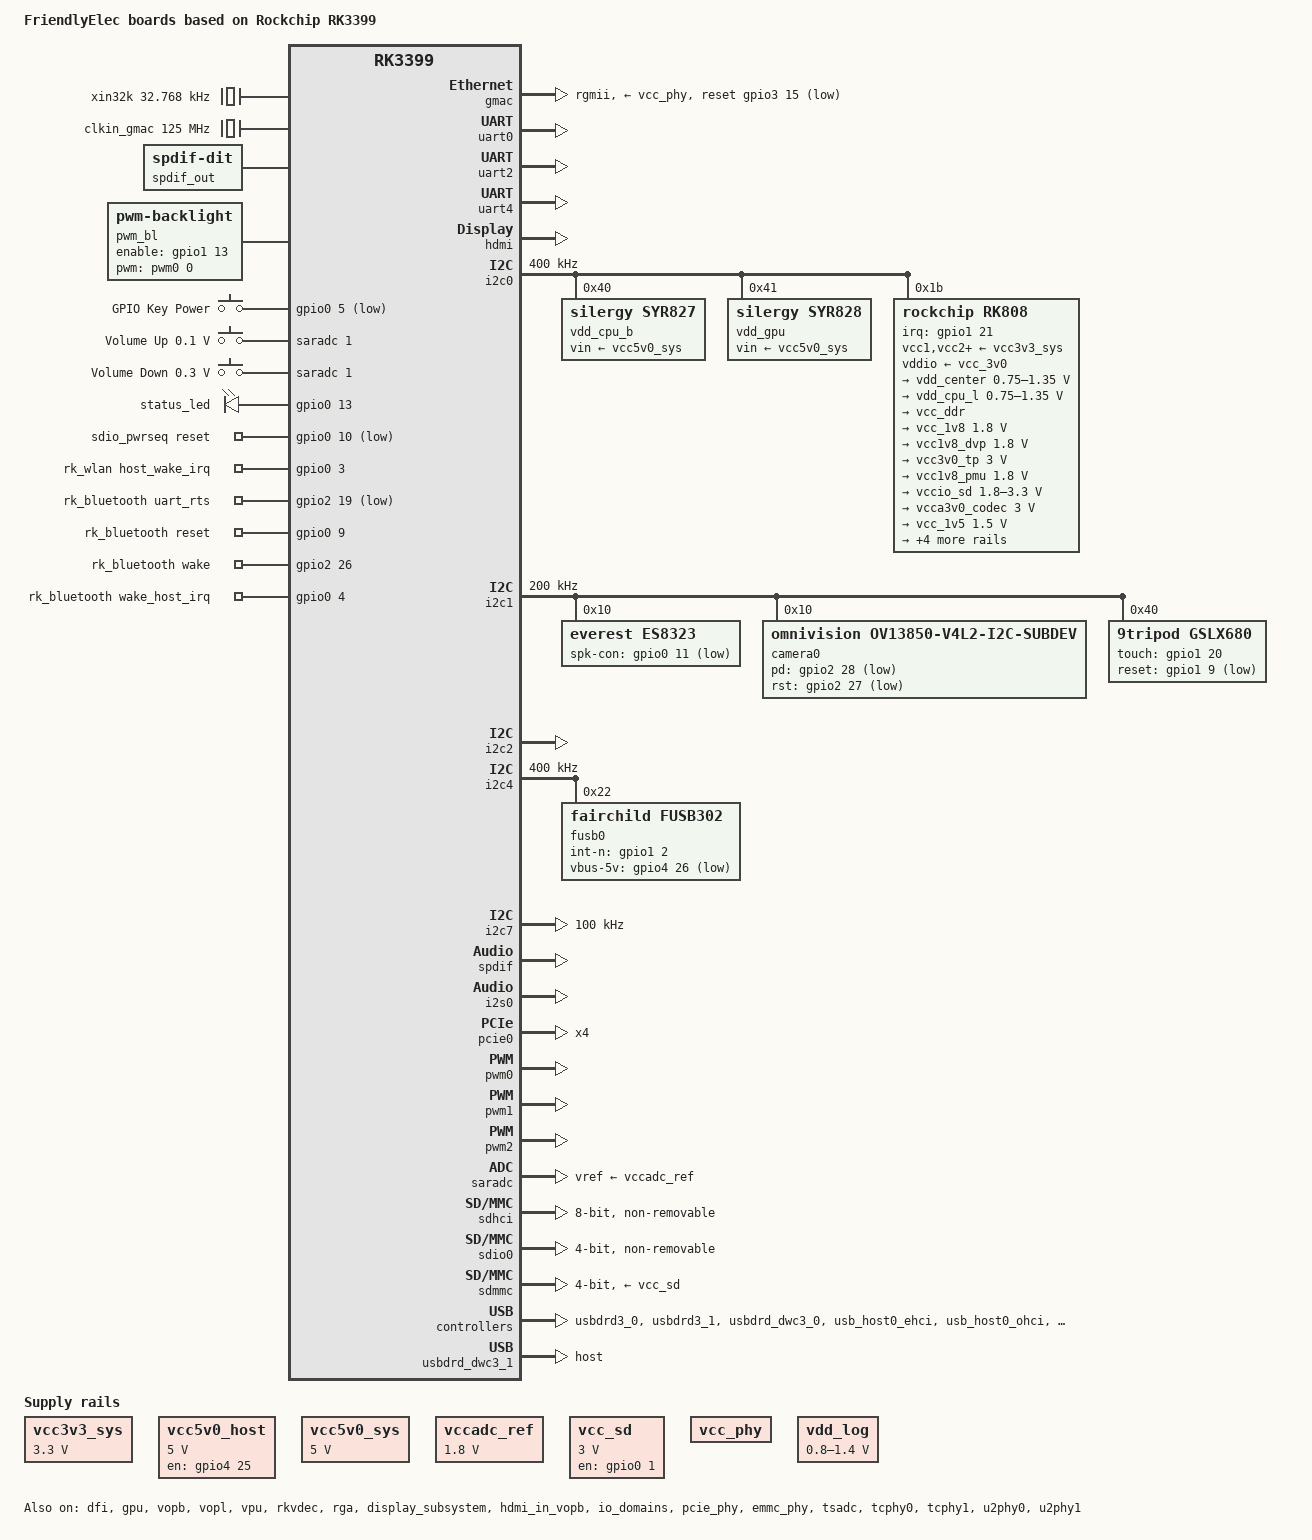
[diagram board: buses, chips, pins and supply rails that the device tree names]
/*
 * Copyright (c) 2018 FriendlyElec Computer Tech. Co., Ltd.
 * (http://www.friendlyarm.com)
 *
 * Copyright (c) 2016 Fuzhou Rockchip Electronics Co., Ltd
 *
 * This file is dual-licensed: you can use it either under the terms
 * of the GPL or the X11 license, at your option. Note that this dual
 * licensing only applies to this file, and not this project as a
 * whole.
 *
 *  a) This file is free software; you can redistribute it and/or
 *     modify it under the terms of the GNU General Public License as
 *     published by the Free Software Foundation; either version 2 of the
 *     License, or (at your option) any later version.
 *
 *     This file is distributed in the hope that it will be useful,
 *     but WITHOUT ANY WARRANTY; without even the implied warranty of
 *     MERCHANTABILITY or FITNESS FOR A PARTICULAR PURPOSE.  See the
 *     GNU General Public License for more details.
 *
 * Or, alternatively,
 *
 *  b) Permission is hereby granted, free of charge, to any person
 *     obtaining a copy of this software and associated documentation
 *     files (the "Software"), to deal in the Software without
 *     restriction, including without limitation the rights to use,
 *     copy, modify, merge, publish, distribute, sublicense, and/or
 *     sell copies of the Software, and to permit persons to whom the
 *     Software is furnished to do so, subject to the following
 *     conditions:
 *
 *     The above copyright notice and this permission notice shall be
 *     included in all copies or substantial portions of the Software.
 *
 *     THE SOFTWARE IS PROVIDED "AS IS", WITHOUT WARRANTY OF ANY KIND,
 *     EXPRESS OR IMPLIED, INCLUDING BUT NOT LIMITED TO THE WARRANTIES
 *     OF MERCHANTABILITY, FITNESS FOR A PARTICULAR PURPOSE AND
 *     NONINFRINGEMENT. IN NO EVENT SHALL THE AUTHORS OR COPYRIGHT
 *     HOLDERS BE LIABLE FOR ANY CLAIM, DAMAGES OR OTHER LIABILITY,
 *     WHETHER IN AN ACTION OF CONTRACT, TORT OR OTHERWISE, ARISING
 *     FROM, OUT OF OR IN CONNECTION WITH THE SOFTWARE OR THE USE OR
 *     OTHER DEALINGS IN THE SOFTWARE.
 */

#include "dt-bindings/pwm/pwm.h"
#include <dt-bindings/display/rk_fb.h>
#include <dt-bindings/display/mipi_dsi.h>
#include "rk3399.dtsi"
#include "rk3399-opp.dtsi"
#include "rk3399-linux.dtsi"
#include <dt-bindings/input/input.h>

/ {
	model = "FriendlyElec boards based on Rockchip RK3399";
	compatible = "friendlyelec,nanopi4",
		   "rockchip,rk3399";

	cpuinfo {
		compatible = "rockchip,cpuinfo";
		nvmem-cells = <&efuse_id>;
		nvmem-cell-names = "id";
	};

	mach: board {
		compatible = "friendlyelec,board";
		machine = "NANOPI4";
		hwrev = <255>;
		model = "NanoPi 4 Series";
	};

	fiq_debugger: fiq-debugger {
		compatible = "rockchip,fiq-debugger";
		rockchip,serial-id = <2>;
		rockchip,signal-irq = <182>;
		rockchip,wake-irq = <0>;
		rockchip,irq-mode-enable = <1>;  /* If enable uart uses irq instead of fiq */
		rockchip,baudrate = <1500000>;  /* Only 115200 and 1500000 */
		pinctrl-names = "default";
		pinctrl-0 = <&uart2c_xfer>;
	};

	xin32k: xin32k {
		compatible = "fixed-clock";
		clock-frequency = <32768>;
		clock-output-names = "xin32k";
		#clock-cells = <0>;
	};

	clkin_gmac: external-gmac-clock {
		compatible = "fixed-clock";
		clock-frequency = <125000000>;
		clock-output-names = "clkin_gmac";
		#clock-cells = <0>;
	};

	vcc3v3_sys: vcc3v3-sys {
		compatible = "regulator-fixed";
		regulator-name = "vcc3v3_sys";
		regulator-always-on;
		regulator-boot-on;
		regulator-min-microvolt = <3300000>;
		regulator-max-microvolt = <3300000>;
	};

	vcc5v0_host: vcc5v0-host-regulator {
		compatible = "regulator-fixed";
		enable-active-high;
		gpio = <&gpio4 25 GPIO_ACTIVE_HIGH>;
		pinctrl-names = "default";
		pinctrl-0 = <&host_vbus_drv>;
		regulator-name = "vcc5v0_host";
		regulator-always-on;
		//regulator-boot-on;
		regulator-min-microvolt = <5000000>;
		regulator-max-microvolt = <5000000>;
	};

	vcc5v0_sys: vcc5v0-sys {
		compatible = "regulator-fixed";
		regulator-name = "vcc5v0_sys";
		regulator-always-on;
		regulator-boot-on;
		regulator-min-microvolt = <5000000>;
		regulator-max-microvolt = <5000000>;
	};

	vccadc_ref: vccadc-ref {
		compatible = "regulator-fixed";
		regulator-name = "vcc1v8_sys";
		regulator-always-on;
		regulator-boot-on;
		regulator-min-microvolt = <1800000>;
		regulator-max-microvolt = <1800000>;
	};

	vcc_sd: vcc-sd {
		compatible = "regulator-fixed";
		enable-active-high;
		gpio = <&gpio0 1 GPIO_ACTIVE_HIGH>;
		pinctrl-names = "default";
		pinctrl-0 = <&vcc_sd_h>;
		regulator-name = "vcc_sd";
		regulator-min-microvolt = <3000000>;
		regulator-max-microvolt = <3000000>;
	};

	vcc_phy: vcc-phy-regulator {
		compatible = "regulator-fixed";
		regulator-name = "vcc_phy";
		regulator-always-on;
		regulator-boot-on;
	};

	/*vcc_lcd: vcc-lcd {
		compatible = "regulator-fixed";
		regulator-name = "vcc_lcd";
		gpio = <&gpio1 13 GPIO_ACTIVE_HIGH>;
		startup-delay-us = <20000>;
		enable-active-high;
		regulator-min-microvolt = <3300000>;
		regulator-max-microvolt = <3300000>;
		regulator-boot-on;
		vin-supply = <&vcc5v0_sys>;
	};*/

	vdd_log: vdd-log {
		compatible = "pwm-regulator";
		pwms = <&pwm2 0 25000 1>;
		regulator-name = "vdd_log";
		regulator-min-microvolt = <800000>;
		regulator-max-microvolt = <1400000>;
		regulator-always-on;
		regulator-boot-on;

		/* for rockchip boot on */
		rockchip,pwm_id = <2>;
		rockchip,pwm_voltage = <1000000>;
	};

/*
	rt5651_card: rt5651-sound {
		status = "okay";
		compatible = "simple-audio-card";
		pinctrl-names = "default";
		pinctrl-0 = <&hp_det>;

		simple-audio-card,name = "realtek,rt5651-codec";
		simple-audio-card,format = "i2s";
		simple-audio-card,mclk-fs = <256>;
		simple-audio-card,hp-det-gpio = <&gpio4 28 GPIO_ACTIVE_HIGH>;

		simple-audio-card,widgets =
			//"Microphone", "Mic Jack",
			"Headphone", "Headphone Jack";
		simple-audio-card,routing =
			//"Mic Jack", "MICBIAS1",
			//"IN1P", "Mic Jack",
			"Headphone Jack", "HPOL",
			"Headphone Jack", "HPOR";

		simple-audio-card,cpu {
			sound-dai = <&i2s0>;
		};
		simple-audio-card,codec {
			sound-dai = <&rt5651>;
		};
	};
*/

	es8323-sound {
	   status = "okay";
		compatible = "simple-audio-card";
		simple-audio-card,format = "i2s";
		simple-audio-card,name = "rockchip,es8323-codec";
		simple-audio-card,mclk-fs = <256>;
		simple-audio-card,widgets =
			"Microphone", "Mic Jack",
			"Headphone", "Headphone Jack";
		simple-audio-card,routing =
			"Mic Jack", "MICBIAS1",
			"IN1P", "Mic Jack",
			"Headphone Jack", "HPOL",
			"Headphone Jack", "HPOR";
		simple-audio-card,cpu {
			sound-dai = <&i2s0>;
			system-clock-frequency = <11289600>;
		};
		simple-audio-card,codec {
			sound-dai = <&es8323>;
			system-clock-frequency = <11289600>;
		};
 	};

	dw_hdmi_audio: dw-hdmi-audio {
		status = "disabled";
		compatible = "rockchip,dw-hdmi-audio";
		#sound-dai-cells = <0>;
	};

	hdmi_sound: hdmi-sound {
		status = "okay";
		compatible = "simple-audio-card";
		simple-audio-card,format = "i2s";
		simple-audio-card,mclk-fs = <256>;
		simple-audio-card,name = "rockchip,hdmi";

		simple-audio-card,cpu {
			sound-dai = <&i2s2>;
		};
		simple-audio-card,codec {
			sound-dai = <&hdmi>;
		};
	};

	spdif-sound {
		status = "okay";
		compatible = "simple-audio-card";
		simple-audio-card,name = "ROCKCHIP,SPDIF";
		simple-audio-card,cpu {
			sound-dai = <&spdif>;
		};
		simple-audio-card,codec {
			sound-dai = <&spdif_out>;
		};
	};

	spdif_out: spdif-out {
		status = "okay";
		compatible = "linux,spdif-dit";
		#sound-dai-cells = <0>;
	};

	pwm_bl: backlight {
		status = "ok";
		compatible = "pwm-backlight";
		pwms = <&pwm0 0 25000 0>;
		brightness-levels = <
			255 254 253 252 251 250 249 248
			247 246 245 244 243 242 241 240
			239 238 237 236 235 234 233 232
			231 230 229 228 227 226 225 224
			223 222 221 220 219 218 217 216
			215 214 213 212 211 210 209 208
			207 206 205 204 203 202 201 200
			199 198 197 196 195 194 193 192
			191 190 189 188 187 186 185 184
			183 182 181 180 179 178 177 176
			175 174 173 172 171 170 169 168
			167 166 165 164 163 162 161 160
			159 158 157 156 155 154 153 152
			151 150 149 148 147 146 145 144
			143 142 141 140 139 138 137 136
			135 134 133 132 131 130 129 128
			127 126 125 124 123 122 121 120
			119 118 117 116 115 114 113 112
			111 110 109 108 107 106 105 104
			103 102 101 100 99 98 97 96
			95 94 93 92 91 90 89 88
			87 86 85 84 83 82 81 80
			79 78 77 76 75 74 73 72
			71 70 69 68 67 66 65 64
			63 62 61 60 59 58 57 56
			55 54 53 52 51 50 49 48
			47 46 45 44 43 42 41 40
			39 38 37 36 35 34 33 32
			31 30 29 28 27 26 25 24
			23 22 21 20 19 18 17 16
			15 14 13 12 11 10 9 8
			7 6 5 4 3 2 1 0>;
		default-brightness-level = <200>;
	};

/*
	panel: edp-panel {
		compatible = "lcds", "simple-panel";
		status = "okay";

		backlight = <&pwm_bl>;
		power-supply = <&vcc_lcd>;
		prepare-delay-ms = <20>;
		enable-delay-ms = <20>;

		ports {
			edp_panel: endpoint {
				remote-endpoint = <&edp_out>;
			};
		};
	};
*/

	gpio-keys {
		compatible = "gpio-keys";
		#address-cells = <1>;
		#size-cells = <0>;
		autorepeat;

		pinctrl-names = "default";
		pinctrl-0 = <&power_key>;

		button@0 {
			gpios = <&gpio0 5 GPIO_ACTIVE_LOW>;
			linux,code = <KEY_POWER>;
			label = "GPIO Key Power";
			linux,input-type = <1>;
			gpio-key,wakeup = <1>;
			debounce-interval = <100>;
		};
	};

	adc-keys {
		compatible = "adc-keys";
		io-channels = <&saradc 1>;
		io-channel-names = "buttons";
		poll-interval = <100>;
		keyup-threshold-microvolt = <1800000>;

		button-up {
			label = "Volume Up";
			linux,code = <KEY_VOLUMEUP>;
			press-threshold-microvolt = <100000>;
		};

		button-down {
			label = "Volume Down";
			linux,code = <KEY_VOLUMEDOWN>;
			press-threshold-microvolt = <300000>;
		};
	};

	leds: gpio-leds {
		compatible = "gpio-leds";
		pinctrl-names = "default";
		pinctrl-0 =<&leds_gpio>;

		led@1 {
			gpios = <&gpio0 13 GPIO_ACTIVE_HIGH>;
			label = "status_led";
			linux,default-trigger = "heartbeat";
			linux,default-trigger-delay-ms = <0>;
		};
	};

	sdio_pwrseq: sdio-pwrseq {
		compatible = "mmc-pwrseq-simple";
		clocks = <&rk808 1>;
		clock-names = "ext_clock";
		pinctrl-names = "default";
		pinctrl-0 = <&wifi_enable_h>;

		/*
		 * On the module itself this is one of these (depending
		 * on the actual card populated):
		 * - SDIO_RESET_L_WL_REG_ON
		 * - PDN (power down when low)
		 */
		reset-gpios = <&gpio0 10 GPIO_ACTIVE_LOW>; /* GPIO0_B2 */
	};

	rk_wlan: wireless-wlan {
		compatible = "wlan-platdata";
		rockchip,grf = <&grf>;
		wifi_chip_type = "ap6354";
		sdio_vref = <1800>;
		WIFI,host_wake_irq = <&gpio0 3 GPIO_ACTIVE_HIGH>; /* GPIO0_a3 */
		status = "okay";
	};

	rk_bluetooth: wireless-bluetooth {
		compatible = "bluetooth-platdata";
		clocks = <&rk808 1>;
		clock-names = "ext_clock";
		//wifi-bt-power-toggle;
		uart_rts_gpios = <&gpio2 19 GPIO_ACTIVE_LOW>; /* GPIO2_C3 */
		pinctrl-names = "default", "rts_gpio";
		pinctrl-0 = <&uart0_rts>;
		pinctrl-1 = <&uart0_gpios>;
		//BT,power_gpio  = <&gpio3 19 GPIO_ACTIVE_HIGH>; /* GPIOx_xx */
		BT,reset_gpio    = <&gpio0 9 GPIO_ACTIVE_HIGH>; /* GPIO0_B1 */
		BT,wake_gpio     = <&gpio2 26 GPIO_ACTIVE_HIGH>; /* GPIO2_D2 */
		BT,wake_host_irq = <&gpio0 4 GPIO_ACTIVE_HIGH>; /* GPIO0_A4 */
		status = "okay";
	};
};

&cpu_l0 {
	cpu-supply = <&vdd_cpu_l>;
};

&cpu_l1 {
	cpu-supply = <&vdd_cpu_l>;
};

&cpu_l2 {
	cpu-supply = <&vdd_cpu_l>;
};

&cpu_l3 {
	cpu-supply = <&vdd_cpu_l>;
};

&cpu_b0 {
	cpu-supply = <&vdd_cpu_b>;
};

&cpu_b1 {
	cpu-supply = <&vdd_cpu_b>;
};

&dfi {
	status = "okay";
};

&dmc {
	status = "disabled";
};

&gpu {
	status = "okay";
	mali-supply = <&vdd_gpu>;
};

&gmac {
	phy-supply = <&vcc_phy>;
	phy-mode = "rgmii";
	clock_in_out = "input";
	snps,reset-gpio = <&gpio3 15 GPIO_ACTIVE_LOW>;
	snps,reset-active-low;
	snps,reset-delays-us = <0 10000 50000>;
	assigned-clocks = <&cru SCLK_RMII_SRC>;
	assigned-clock-parents = <&clkin_gmac>;
	pinctrl-names = "default";
	pinctrl-0 = <&rgmii_pins>;
	tx_delay = <0x46>;
	rx_delay = <0x21>;
	status = "okay";
};

&uart0 {
	pinctrl-names = "default";
	pinctrl-0 = <&uart0_xfer &uart0_cts>;
	status = "okay";
};

&uart2 {
	status = "okay";
};

&uart4 {
	status = "okay";
};

&vopb {
	status = "okay";
	assigned-clocks = <&cru DCLK_VOP0_DIV>;
	assigned-clock-parents = <&cru PLL_VPLL>;
	//assigned-clock-parents = <&cru PLL_CPLL>;
};

&vopb_mmu {
	status = "okay";
};

&vopl {
	status = "okay";
	assigned-clocks = <&cru DCLK_VOP1_DIV>;
	assigned-clock-parents = <&cru PLL_CPLL>;
	//assigned-clock-parents = <&cru PLL_VPLL>;
};

&vopl_mmu {
	status = "okay";
};

&vpu {
	status = "okay";
	/* 0 means ion, 1 means drm */
	//allocator = <0>;
};

&rkvdec {
	status = "okay";
	/* 0 means ion, 1 means drm */
	//allocator = <0>;
};

&rga {
	status = "okay";
};

&display_subsystem {
	status = "okay";
};

/*
&edp {
	status = "okay";
	force-hpd;
	/delete-property/ pinctrl-0;

	ports {
		port@1 {
			reg = <1>;

			edp_out: endpoint {
				remote-endpoint = <&edp_panel>;
			};
		};
	};
};


&edp_in_vopb {
	status = "disabled";
};

&route_edp {
	status = "okay";
	logo,mode = "center";
	connect = <&vopl_out_edp>;
};
*/
&cdn_dp {
	status = "disabled";
	extcon = <&fusb0>;
	phys = <&tcphy0_dp>;
};

&dp_in_vopl {
	status = "disabled";
};

&hdmi_in_vopl {
	//status = "ok";
	status = "disabled";
};

&hdmi_in_vopb {
	status = "ok";
	//status = "disabled";
};

&hdmi {
	/* remove the hdmi_i2c_xfer */
	pinctrl-0 = <&hdmi_cec>;
	#address-cells = <1>;
	#size-cells = <0>;
	#sound-dai-cells = <0>;
	status = "okay";
	ddc-i2c-bus = <&i2c7>;
	rockchip,defaultmode = <16>; /* CEA 1920x1080@60Hz */
};

&route_hdmi {
	status = "disabled";
	logo,mode = "center";
	connect = <&vopb_out_hdmi>;
};
/*
&cif_isp0 {
	rockchip,camera-modules-attached = <&camera0>;
	status = "okay";
};
*/


&isp0_mmu {
	status = "okay";
};

&cif_isp1 {
	status = "disabled";
};


&isp1_mmu {
	status = "okay";
};

&i2c0 {
	status = "okay";
	i2c-scl-rising-time-ns = <160>;
	i2c-scl-falling-time-ns = <30>;
	clock-frequency = <400000>;

	vdd_cpu_b: syr827@40 {
		compatible = "silergy,syr827";
		reg = <0x40>;
		vin-supply = <&vcc5v0_sys>;
		regulator-compatible = "fan53555-reg";
		regulator-name = "vdd_cpu_b";
		regulator-min-microvolt = <712500>;
		regulator-max-microvolt = <1500000>;
		regulator-ramp-delay = <1000>;
		fcs,suspend-voltage-selector = <1>;
		regulator-always-on;
		regulator-boot-on;
		regulator-initial-state = <3>;
			regulator-state-mem {
			regulator-off-in-suspend;
		};
	};

	vdd_gpu: syr828@41 {
		compatible = "silergy,syr828";
		reg = <0x41>;
		vin-supply = <&vcc5v0_sys>;
		regulator-compatible = "fan53555-reg";
		regulator-name = "vdd_gpu";
		regulator-min-microvolt = <712500>;
		regulator-max-microvolt = <1500000>;
		regulator-ramp-delay = <1000>;
		fcs,suspend-voltage-selector = <1>;
		regulator-always-on;
		regulator-boot-on;
		regulator-initial-state = <3>;
			regulator-state-mem {
			regulator-off-in-suspend;
		};
	};

	rk808: pmic@1b {
		compatible = "rockchip,rk808";
		reg = <0x1b>;
		interrupt-parent = <&gpio1>;
		interrupts = <21 IRQ_TYPE_LEVEL_LOW>;
		pinctrl-names = "default";
		pinctrl-0 = <&pmic_int_l>;
		rockchip,system-power-controller;
		wakeup-source;
		#clock-cells = <1>;
		clock-output-names = "rk808-clkout1", "rk808-clkout2";

		vcc1-supply = <&vcc3v3_sys>;
		vcc2-supply = <&vcc3v3_sys>;
		vcc3-supply = <&vcc3v3_sys>;
		vcc4-supply = <&vcc3v3_sys>;
		vcc6-supply = <&vcc3v3_sys>;
		vcc7-supply = <&vcc3v3_sys>;
		vcc8-supply = <&vcc3v3_sys>;
		vcc9-supply = <&vcc3v3_sys>;
		vcc10-supply = <&vcc3v3_sys>;
		vcc11-supply = <&vcc3v3_sys>;
		vcc12-supply = <&vcc3v3_sys>;
		//vddio-supply = <&vcc1v8_pmu>;
		vddio-supply = <&vcc_3v0>;

		regulators {
			vdd_center: DCDC_REG1 {
				regulator-always-on;
				regulator-boot-on;
				regulator-min-microvolt = <750000>;
				regulator-max-microvolt = <1350000>;
				regulator-ramp-delay = <6001>;
				regulator-name = "vdd_center";
				regulator-state-mem {
					regulator-off-in-suspend;
				};
			};

			vdd_cpu_l: DCDC_REG2 {
				regulator-always-on;
				regulator-boot-on;
				regulator-min-microvolt = <750000>;
				regulator-max-microvolt = <1350000>;
				regulator-ramp-delay = <6001>;
				regulator-name = "vdd_cpu_l";
				regulator-state-mem {
					regulator-off-in-suspend;
				};
			};

			vcc_ddr: DCDC_REG3 {
				regulator-always-on;
				regulator-boot-on;
				regulator-name = "vcc_ddr";
				regulator-state-mem {
					regulator-on-in-suspend;
				};
			};

			vcc_1v8: DCDC_REG4 {
				regulator-always-on;
				regulator-boot-on;
				regulator-min-microvolt = <1800000>;
				regulator-max-microvolt = <1800000>;
				regulator-name = "vcc_1v8";
				regulator-state-mem {
					regulator-on-in-suspend;
					regulator-suspend-microvolt = <1800000>;
				};
			};

			vcc1v8_dvp: LDO_REG1 {
				regulator-always-on;
				regulator-boot-on;
				regulator-min-microvolt = <1800000>;
				regulator-max-microvolt = <1800000>;
				regulator-name = "vcc1v8_dvp";
				regulator-state-mem {
					regulator-off-in-suspend;
				};
			};

			vcc3v0_tp: LDO_REG2 {
				regulator-always-on;
				regulator-boot-on;
				regulator-min-microvolt = <3000000>;
				regulator-max-microvolt = <3000000>;
				regulator-name = "vcc3v0_tp";
				regulator-state-mem {
					regulator-off-in-suspend;
				};
			};

			vcc1v8_pmu: LDO_REG3 {
				regulator-always-on;
				regulator-boot-on;
				regulator-min-microvolt = <1800000>;
				regulator-max-microvolt = <1800000>;
				regulator-name = "vcc1v8_pmu";
				regulator-state-mem {
					regulator-on-in-suspend;
					regulator-suspend-microvolt = <1800000>;
				};
			};

			vccio_sd: LDO_REG4 {
				regulator-always-on;
				regulator-boot-on;
				regulator-min-microvolt = <1800000>;
				regulator-max-microvolt = <3300000>;
				regulator-init-microvolt = <3000000>;
				regulator-name = "vccio_sd";
				regulator-state-mem {
					regulator-on-in-suspend;
					regulator-suspend-microvolt = <3000000>;
				};
			};

			vcca3v0_codec: LDO_REG5 {
				regulator-always-on;
				regulator-boot-on;
				regulator-min-microvolt = <3000000>;
				regulator-max-microvolt = <3000000>;
				regulator-name = "vcca3v0_codec";
				regulator-state-mem {
					regulator-off-in-suspend;
				};
			};

			vcc_1v5: LDO_REG6 {
				regulator-always-on;
				regulator-boot-on;
				regulator-min-microvolt = <1500000>;
				regulator-max-microvolt = <1500000>;
				regulator-name = "vcc_1v5";
				regulator-state-mem {
					regulator-on-in-suspend;
					regulator-suspend-microvolt = <1500000>;
				};
			};

			vcca1v8_codec: LDO_REG7 {
				regulator-always-on;
				regulator-boot-on;
				regulator-min-microvolt = <1800000>;
				regulator-max-microvolt = <1800000>;
				regulator-name = "vcca1v8_codec";
				regulator-state-mem {
					regulator-off-in-suspend;
				};
			};

			vcc_3v0: LDO_REG8 {
				regulator-always-on;
				regulator-boot-on;
				regulator-min-microvolt = <3000000>;
				regulator-max-microvolt = <3000000>;
				regulator-name = "vcc_3v0";
				regulator-state-mem {
					regulator-on-in-suspend;
					regulator-suspend-microvolt = <3000000>;
				};
			};

			vcc3v3_s3: SWITCH_REG1 {
				regulator-always-on;
				regulator-boot-on;
				regulator-name = "vcc3v3_s3";
				regulator-state-mem {
					regulator-off-in-suspend;
				};
			};

			vcc3v3_s0: SWITCH_REG2 {
				regulator-always-on;
				regulator-boot-on;
				regulator-name = "vcc3v3_s0";
				regulator-state-mem {
					regulator-off-in-suspend;
				};
			};
		};
	};
};

&i2c1 {
	status = "okay";
	i2c-scl-rising-time-ns = <150>;
	i2c-scl-falling-time-ns = <30>;
	clock-frequency = <200000>;

/*
	rt5651: rt5651@1a {
		#sound-dai-cells = <0>;
		compatible = "rockchip,rt5651";
		reg = <0x1a>;
		clocks = <&cru SCLK_I2S_8CH_OUT>;
		clock-names = "mclk";
		pinctrl-names = "default";
		pinctrl-0 = <&i2s_8ch_mclk>;
		status = "okay";
	};
	*/
	es8323: es8323@10 {
		status = "okay";
		#sound-dai-cells = <0>;
		compatible = "everest,es8323";
		reg = <0x10>;
		clocks = <&cru SCLK_I2S_8CH_OUT>;
		clock-names = "mclk";
		pinctrl-names = "default";
		pinctrl-0 = <&i2s_8ch_mclk>;
		spk-con-gpio = <&gpio0 11 GPIO_ACTIVE_LOW>;
	};

	camera0: ov13850@10 {
		status = "okay";
		compatible = "omnivision,ov13850-v4l2-i2c-subdev";
		reg = <0x10>;
		device_type = "v4l2-i2c-subdev";

		clocks = <&cru SCLK_CIF_OUT>;
		clock-names = "clk_cif_out";
		pinctrl-names = "rockchip,camera_default", "rockchip,camera_sleep";
		pinctrl-0 = <&cam0_default_pins>;
		pinctrl-1 = <&cam0_sleep_pins>;

		rockchip,pd-gpio = <&gpio2 28 GPIO_ACTIVE_LOW>;
		rockchip,rst-gpio = <&gpio2 27 GPIO_ACTIVE_LOW>;

		rockchip,camera-module-mclk-name = "clk_cif_out";
		rockchip,camera-module-facing = "back";
		rockchip,camera-module-name = "CAM1320-P13V03D";
		rockchip,camera-module-len-name = "50013A1";
		rockchip,camera-module-fov-h = "66.0";
		rockchip,camera-module-fov-v = "50.1";
		rockchip,camera-module-orientation = <0>;
		rockchip,camera-module-iq-flip = <0>;
		rockchip,camera-module-iq-mirror = <0>;
		rockchip,camera-module-flip = <1>;
		rockchip,camera-module-mirror = <0>;

		rockchip,camera-module-defrect0 = <2112 1568 0 0 2112 1568>;
		rockchip,camera-module-defrect1 = <4224 3136 0 0 4224 3136>;
		rockchip,camera-module-defrect3 = <3264 2448 0 0 3264 2448>;
		rockchip,camera-module-flash-support = <0>;
		rockchip,camera-module-mipi-dphy-index = <0>;
	};

     	gslx680@40 {
        	compatible = "9tripod,gslx680";
        	reg = <0x40>;
        	touch-gpio = <&gpio1 20 IRQ_TYPE_EDGE_RISING>;
        	reset-gpio = <&gpio1 9 GPIO_ACTIVE_LOW>;
        	//max-x = <1024>;
        	//max-y = <600>;
    	};
	

};

&i2c2 {
	status = "okay";
};

&i2c4 {
	status = "okay";
	i2c-scl-rising-time-ns = <160>;
	i2c-scl-falling-time-ns = <30>;
	clock-frequency = <400000>;

	fusb0: fusb30x@22 {
		compatible = "fairchild,fusb302";
		reg = <0x22>;
		pinctrl-names = "default";
		pinctrl-0 = <&fusb0_int>;
		int-n-gpios = <&gpio1 2 GPIO_ACTIVE_HIGH>;
		vbus-5v-gpios = <&gpio4 26 GPIO_ACTIVE_LOW>;
		status = "okay";
	};
/*
	gt9xx: goodix_ts@5d {
		compatible = "goodix,gt9xx";
		reg = <0x5d>;
		interrupt-parent = <&gpio1>;
		interrupts = <20 IRQ_TYPE_EDGE_FALLING>;
		goodix,irq-gpio = <&gpio1 20 GPIO_ACTIVE_HIGH>;
		goodix,rst-gpio = <&gpio1 13 GPIO_ACTIVE_LOW>;
		status = "okay";
	};
*/
	/*
	onewire_ts@2f {
		compatible = "onewire";
		reg = <0x2f>;
		interrupt-parent = <&gpio1>;
		interrupts = <20 IRQ_TYPE_EDGE_FALLING>;
	}; */
};

&i2c7 {
	status = "okay";
	clock-frequency = <100000>;
};

&spdif {
	status = "okay";
	pinctrl-0 = <&spdif_bus>;
	i2c-scl-rising-time-ns = <450>;
	i2c-scl-falling-time-ns = <15>;
	#sound-dai-cells = <0>;
};

&i2s0 {
	status = "okay";
	rockchip,i2s-broken-burst-len;
	rockchip,playback-channels = <8>;
	rockchip,capture-channels = <8>;
	#sound-dai-cells = <0>;
	assigned-clocks = <&cru SCLK_I2S_8CH>;
	assigned-clock-parents = <&cru SCLK_I2S0_8CH>;
};
/*
&i2s1 {
	assigned-clocks = <&cru SCLK_I2S_8CH>;
	assigned-clock-parents = <&cru SCLK_I2S1_8CH>;
};

&i2s2 {
	#sound-dai-cells = <0>;
	status = "okay";
};
*/

&io_domains {
	status = "okay";

	bt656-supply = <&vcc1v8_dvp>;		/* bt656_gpio2ab_ms */
	audio-supply = <&vcca1v8_codec>;	/* audio_gpio3d4a_ms */
	sdmmc-supply = <&vccio_sd>;		/* sdmmc_gpio4b_ms */
	gpio1830-supply = <&vcc_3v0>;		/* gpio1833_gpio4cd_ms */
};

&pmu_io_domains {
	status = "okay";
	pmu1830-supply = <&vcc_1v8>;
};

&pcie_phy {
	status = "okay";
};

&pcie0 {
	status = "okay";
	ep-gpios = <&gpio2 4 GPIO_ACTIVE_HIGH>;
	num-lanes = <4>;
};

&pwm_bl {
	status = "okay";
//	enable-gpios = <&gpio4 18 GPIO_ACTIVE_HIGH>;
	pinctrl-names = "default";
	pinctrl-0 = <&pwm_en>;
	enable-gpios = <&gpio1 13 GPIO_ACTIVE_HIGH>;//gpio1_b5
};

&pwm0 {
	status = "okay";
};

&pwm1 {
	status = "okay";
};

&pwm2 {
	status = "okay";
	pinctrl-names = "active";
	pinctrl-0 = <&pwm2_pin_pull_down>;
};

&rockchip_suspend {
	status = "okay";
	rockchip,sleep-debug-en = <1>;
	rockchip,sleep-mode-config = <
		(0
		| RKPM_SLP_ARMPD
		| RKPM_SLP_PERILPPD
		| RKPM_SLP_DDR_RET
		| RKPM_SLP_PLLPD
		| RKPM_SLP_CENTER_PD
		| RKPM_SLP_AP_PWROFF
		)
		>;
	rockchip,wakeup-config = <
		(0
		| RKPM_GPIO_WKUP_EN
		| RKPM_PWM_WKUP_EN
		)
		>;
		rockchip,pwm-regulator-config = <
		(0
		| PWM2_REGULATOR_EN
		)
		>;
		rockchip,power-ctrl =
		<&gpio1 17 GPIO_ACTIVE_HIGH>,
		<&gpio1 14 GPIO_ACTIVE_HIGH>;
};

&saradc {
	status = "okay";
	vref-supply = <&vccadc_ref>; /* TBD */
};

&sdhci {
	bus-width = <8>;
	mmc-hs400-1_8v;
	supports-emmc;
	non-removable;
	keep-power-in-suspend;
	mmc-hs400-enhanced-strobe;
	status = "okay";
};

&emmc_phy {
	status = "okay";
};

&sdio0 {
	clock-frequency = <50000000>;
	clock-freq-min-max = <200000 50000000>;
	supports-sdio;
	bus-width = <4>;
	disable-wp;
	cap-sd-highspeed;
	cap-sdio-irq;
	keep-power-in-suspend;
	mmc-pwrseq = <&sdio_pwrseq>;
	non-removable;
	num-slots = <1>;
	pinctrl-names = "default";
	pinctrl-0 = <&sdio0_bus4 &sdio0_cmd &sdio0_clk>;
	sd-uhs-sdr104;
	status = "okay";
};

&sdmmc {
	clock-frequency = <150000000>;
	clock-freq-min-max = <100000 150000000>;
	supports-sd;
	bus-width = <4>;
	cap-mmc-highspeed;
	cap-sd-highspeed;
	disable-wp;
	num-slots = <1>;
	sd-uhs-sdr104;
	vmmc-supply = <&vcc_sd>;
	vqmmc-supply = <&vccio_sd>;
	pinctrl-names = "default";
	pinctrl-0 = <&sdmmc_clk &sdmmc_cmd &sdmmc_cd &sdmmc_bus4>;
	status = "okay";
};

&tsadc {
	/* tshut mode 0:CRU 1:GPIO */
	rockchip,hw-tshut-mode = <1>;
	/* tshut polarity 0:LOW 1:HIGH */
	rockchip,hw-tshut-polarity = <1>;
	status = "okay";
};

&tcphy0 {
	extcon = <&fusb0>;
	status = "okay";
};

&tcphy1 {
	status = "okay";
};

&u2phy0 {
	status = "okay";
	extcon = <&fusb0>;

	u2phy0_otg: otg-port {
		status = "okay";
	};

	u2phy0_host: host-port {
		phy-supply = <&vcc5v0_host>;
		status = "okay";
	};
};

&u2phy1 {
	status = "okay";

	u2phy1_otg: otg-port {
		status = "okay";
	};

	u2phy1_host: host-port {
		phy-supply = <&vcc5v0_host>;
		status = "okay";
	};
};

&usbdrd3_0 {
	status = "okay";
	extcon = <&fusb0>;
};

&usbdrd3_1 {
	status = "okay";
};

&usbdrd_dwc3_0 {
	status = "okay";
};

&usbdrd_dwc3_1 {
	status = "okay";
	dr_mode = "host";
};

&usb_host0_ehci {
	status = "okay";
};

&usb_host0_ohci {
	status = "okay";
};

&usb_host1_ehci {
	status = "okay";
};

&usb_host1_ohci {
	status = "okay";
};

&pinctrl {
	edp {
		/delete-node/ edp-hpd;
	};

	hdmi {
		/delete-node/ hdmi-i2c-xfer;
	};

	pmic {
		pmic_int_l: pmic-int-l {
			rockchip,pins = <1 21 RK_FUNC_GPIO &pcfg_pull_up>;
		};

		vsel1_gpio: vsel1-gpio {
			rockchip,pins = <1 17 RK_FUNC_GPIO &pcfg_pull_down>;
		};
		vsel2_gpio: vsel2-gpio {
			rockchip,pins = <1 14 RK_FUNC_GPIO &pcfg_pull_down>;
		};
	};

	vcc_sd {
		vcc_sd_h: vcc-sd-h {
			rockchip,pins = <0 1 RK_FUNC_GPIO &pcfg_pull_up>;
		};
	};
	
	usb2 {
		host_vbus_drv: host-vbus-drv {
			rockchip,pins =
				<4 25 RK_FUNC_GPIO &pcfg_pull_none>;
		};
	};

	fusb30x {
		fusb0_int: fusb0-int {
			rockchip,pins = 
				<1 2 RK_FUNC_GPIO &pcfg_pull_up>,
				<4 26 RK_FUNC_GPIO &pcfg_pull_up>;
		};
	};

	sdio-pwrseq {
		wifi_enable_h: wifi-enable-h {
			rockchip,pins = <0 10 RK_FUNC_GPIO &pcfg_pull_none>;
		};
	};

	wireless-bluetooth {
		uart0_gpios: uart0-gpios {
			rockchip,pins = <2 19 RK_FUNC_GPIO &pcfg_pull_none>;
		};
	};

	rockchip-key {
		power_key: power-key {
			rockchip,pins = <0 5 RK_FUNC_GPIO &pcfg_pull_up>;
		};
	};

	lcd-panel {
		lcd_panel_reset: lcd-panel-reset {
			rockchip,pins = <4 30 RK_FUNC_GPIO &pcfg_pull_up>;
		};
	};

	headphone {
		hp_det: hp-det {
			rockchip,pins = <4 28 RK_FUNC_GPIO &pcfg_pull_up>;
		};
	};

	gpio-leds {
		leds_gpio: leds-gpio {
			rockchip,pins = <0 13 RK_FUNC_GPIO &pcfg_pull_none>;
		};
	};
	pwm_bl {
		pwm_en: pwm-en {
			rockchip,pins = <1 13 RK_FUNC_GPIO &pcfg_pull_none>;
		};
	};
};

//#include "lcd_wy070ml.dtsi"
#include "lcd_mipi_N070ICE.dtsi"
